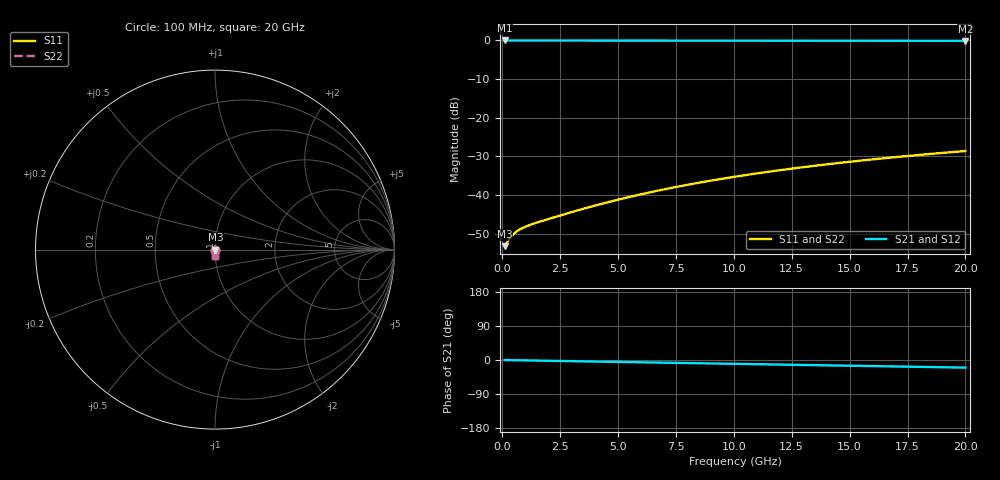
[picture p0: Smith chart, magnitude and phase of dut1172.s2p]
! Touchstone file exported from HFSS 2026.1.0
!  File:  C:/ffzhzh/LocalFiles/Ansys_Project_Files/temp_train_TMRDL_1172_1783162492_18472.aedt
!  Generated:  06:55:59 PM Jul  4, 2026
!  Design:  TMRDL
!  Project:  temp_train_TMRDL_1172_1783162492_18472
! Variables:
!  h_bsmrdl = 2um
!  h_ox = 20um
!  h_rdl = 5um
!  h_sub = 80um
!  h_tmrdl = 2.73um
!  h_tsv = 80um
!  h_via = 3um
!  l_bsmrdl = 300um
!  l_sub = 747.3um
!  l_tmrdl = 347.3um
!  m_sub = 200um
!  pitch = 27.48um
!  r_tsv = 6um
!  s_tmrdl = 10um
!  w_bsmrdl = 18um
!  w_sub = 500um
!  w_tmrdl = 24.86um
!  x_tsv_center1 = 359.73um
!  x_tsv_center2 = 677.73um
!  x_tsv_center3 = 1049.89um
!  x_tsv_center4 = 1367.89um
!  x_tsv_center5 = 1740.05um
!  x_tsv_center6 = 2058.05um
# GHz S MA R 50.000000
! Terminal data exported
! Port[1] = TM_RDL1_1_T1
! Port[2] = TM_RDL1_1_T2
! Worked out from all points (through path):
!   200 points, 100 MHz to 20 GHz, reference 50 ohm
!   highest |S21| = -0.02 dB at 100 MHz (marker M1); lowest = -0.1 dB at 20 GHz (marker M2)
!   group delay of S21, straight-line fit = 2.78 ps
!   lowest |S11| = -53.3 dB at 100 MHz (marker M3), VSWR 1.00, Z = 50.2 + j0.0272 ohm
!   |S11| at or under -10 dB: start of sweep to end of sweep
!   |S22| runs from -53.3 to -28.6 dB; largest |S21 - S12| = 6e-15
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0.1  0.002174 7.2  0.9978 -0.1  0.9978 -0.1  0.002174 7.2
! Gamma 0 0 0 0
! Port Impedance 50 0 50 0
0.3  0.002665 12.3  0.9974 -0.4  0.9974 -0.4  0.002665 12.3
0.4  0.002923 11.2  0.9971 -0.5  0.9971 -0.5  0.002924 11.2
0.5  0.003148 9.0  0.9969 -0.6  0.9969 -0.6  0.00315 9.1
0.6  0.003339 6.4  0.9967 -0.7  0.9967 -0.7  0.003342 6.5
0.7  0.003501 3.7  0.9965 -0.8  0.9965 -0.8  0.003505 3.7
0.9  0.003768 -1.7  0.9962 -1.0  0.9962 -1.0  0.003773 -1.7
1.2  0.004093 -9.0  0.9959 -1.3  0.9959 -1.3  0.004098 -9.0
1.7  0.004586 -19.1  0.9956 -1.8  0.9956 -1.8  0.00459 -19.2
3.5  0.006623 -42.6  0.9948 -3.6  0.9948 -3.6  0.006627 -42.6
4.3  0.007691 -49.0  0.9945 -4.4  0.9945 -4.4  0.007697 -49.0
5.1  0.00884 -54.0  0.9941 -5.3  0.9941 -5.3  0.008849 -53.9
5.9  0.01006 -58.0  0.9937 -6.1  0.9937 -6.1  0.01007 -57.9
6.8  0.0115 -61.6  0.9933 -7.0  0.9933 -7.0  0.01152 -61.6
8.4  0.01423 -66.8  0.9924 -8.6  0.9924 -8.6  0.01425 -66.7
10.1  0.01732 -71.2  0.9914 -10.3  0.9914 -10.3  0.01734 -71.1
11.7  0.02035 -74.8  0.9905 -11.9  0.9905 -11.9  0.02038 -74.7
13.4  0.02367 -78.2  0.9895 -13.6  0.9895 -13.6  0.02371 -78.0
15  0.02687 -81.2  0.9886 -15.2  0.9886 -15.2  0.02691 -81.0
16.7  0.0303 -84.1  0.9876 -16.8  0.9876 -16.8  0.03036 -83.9
18.3  0.03356 -86.8  0.9868 -18.4  0.9868 -18.4  0.03362 -86.5
20  0.03703 -89.5  0.9859 -20.1  0.9859 -20.1  0.0371 -89.2
